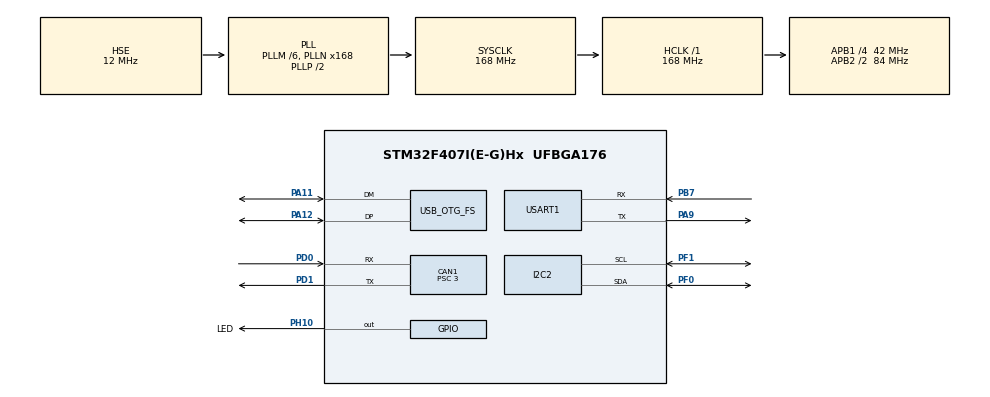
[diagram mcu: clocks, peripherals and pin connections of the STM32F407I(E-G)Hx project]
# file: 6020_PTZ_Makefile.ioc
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CAN1.ABOM=ENABLE
CAN1.BS1=CAN_BS1_9TQ
CAN1.BS2=CAN_BS2_4TQ
CAN1.CalculateBaudRate=1000000
CAN1.CalculateTimeBit=1000
CAN1.CalculateTimeQuantum=71.42857142857143
CAN1.Prescaler=3
I2C2.OwnAddress=0x1A
Mcu.Family=STM32F4
Mcu.Name=STM32F407I(E-G)Hx
Mcu.Package=UFBGA176
NVIC.CAN1_RX0_IRQn=true\:0\:0\:false\:false\:true\:true\:true\:true
NVIC.CAN1_TX_IRQn=true\:0\:0\:false\:false\:true\:true\:true\:true
NVIC.I2C2_ER_IRQn=true\:0\:0\:false\:false\:true\:true\:true\:true
NVIC.I2C2_EV_IRQn=true\:0\:0\:false\:false\:true\:true\:true\:true
NVIC.OTG_FS_IRQn=true\:0\:0\:false\:false\:true\:false\:true\:true
NVIC.PriorityGroup=NVIC_PRIORITYGROUP_4
NVIC.USART1_IRQn=true\:0\:0\:false\:false\:true\:true\:true\:true
PA11.Mode=Device_Only
PA11.Signal=USB_OTG_FS_DM
PA12.Mode=Device_Only
PA12.Signal=USB_OTG_FS_DP
PA13.Signal=SYS_JTMS-SWDIO
PA14.Signal=SYS_JTCK-SWCLK
PA9.Mode=Asynchronous
PA9.Signal=USART1_TX
PB7.Mode=Asynchronous
PB7.Signal=USART1_RX
PC14-OSC32_IN.Mode=LSE-External-Oscillator
PC14-OSC32_IN.Signal=RCC_OSC32_IN
PC15-OSC32_OUT.Mode=LSE-External-Oscillator
PC15-OSC32_OUT.Signal=RCC_OSC32_OUT
PD0.Mode=CAN_Activate
PD0.Signal=CAN1_RX
PD1.Mode=CAN_Activate
PD1.Signal=CAN1_TX
PF0.Mode=I2C
PF0.Signal=I2C2_SDA
PF1.Mode=I2C
PF1.Signal=I2C2_SCL
PH0-OSC_IN.Mode=HSE-External-Oscillator
PH0-OSC_IN.Signal=RCC_OSC_IN
PH1-OSC_OUT.Mode=HSE-External-Oscillator
PH1-OSC_OUT.Signal=RCC_OSC_OUT
PH10.GPIO_Label=LED
PH10.PinState=GPIO_PIN_SET
PH10.Signal=GPIO_Output
ProjectManager.HeapSize=0x200
ProjectManager.StackSize=0x400
ProjectManager.TargetToolchain=Makefile
RCC.48MHZClocksFreq_Value=48000000
RCC.AHBFreq_Value=168000000
RCC.APB1CLKDivider=RCC_HCLK_DIV4
RCC.APB1Freq_Value=42000000
RCC.APB1TimFreq_Value=84000000
RCC.APB2CLKDivider=RCC_HCLK_DIV2
RCC.APB2Freq_Value=84000000
RCC.APB2TimFreq_Value=168000000
RCC.CortexFreq_Value=168000000
RCC.HCLKFreq_Value=168000000
RCC.HSE_VALUE=12000000
RCC.HSI_VALUE=16000000
RCC.PLLM=6
RCC.PLLN=168
RCC.PLLQ=7
RCC.SYSCLKFreq_VALUE=168000000
RCC.SYSCLKSource=RCC_SYSCLKSOURCE_PLLCLK
RCC.VCOOutputFreq_Value=336000000
USART1.VirtualMode=VM_ASYNC
USB_DEVICE.CLASS_NAME_FS=CDC
USB_DEVICE.VirtualMode-CDC_FS=Cdc
USB_DEVICE.VirtualModeFS=Cdc_FS
USB_OTG_FS.VirtualMode=Device_Only
VP_USB_DEVICE_VS_USB_DEVICE_CDC_FS.Mode=CDC_FS
board=custom

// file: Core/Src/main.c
/* USER CODE BEGIN Header */
/**
 ******************************************************************************
 * @file           : main.c
 * @brief          : Main program body
 ******************************************************************************
 * @attention
 *
 * <h2><center>&copy; Copyright (c) 2021 STMicroelectronics.
 * All rights reserved.</center></h2>
 *
 * This software component is licensed by ST under BSD 3-Clause license,
 * the "License"; You may not use this file except in compliance with the
 * License. You may obtain a copy of the License at:
 *                        opensource.org/licenses/BSD-3-Clause
 *
 ******************************************************************************
 */
/* USER CODE END Header */
#include "main.h"
#include "can.h"
#include "gpio.h"
#include "i2c.h"
#include "pid_control_tuning.h"
#include "usart.h"
#include "usb_device.h"

/* USER CODE BEGIN Includes */
#include "bsp_can.h"
#include "com.h"
#include "package.h"
#include "pid.h"
#include "math.h"
#include "usbd_cdc_if.h"
#include <stdio.h>
#include <string.h>

/* USER CODE END Includes */

/* USER CODE BEGIN PTD */
#define printf(...) cprintf(&huart1, __VA_ARGS__)

typedef struct
{
  uint8_t header;
  uint8_t cmd_id;
  float value;
  uint8_t end;
}__attribute__((packed)) Rx_packet;

Rx_packet rxBuffer;   //串口接收包
/* USER CODE END PTD */

/* USER CODE BEGIN PV */
typedef struct Vec3d {
    double x, y, z;
} Vec3d;
/* USER CODE END PV */

void SystemClock_Config(void);

/* USER CODE BEGIN 0 */
uint8_t ReceiveBuffer[6] = {0}; // IIC接收缓冲区
char buf_r[256] = {0};

double rc_norm(const Vec3d *r) {
    double ans = (r -> x * r -> x) + (r -> y * r -> y) + (r -> z * r -> z);
    return sqrt(ans);
}

void rc_mul(const double a, const Vec3d *b, Vec3d *ans) {
    ans -> x = a * b -> x;
    ans -> y = a * b -> y;
    ans -> z = a * b -> z;
}

/* USER CODE END 0 */

int main(void) {

  /* MCU Configuration--------------------------------------------------------*/

  /* Reset of all peripherals, Initializes the Flash interface and the Systick.
   */
  HAL_Init();

  /* Configure the system clock */
  SystemClock_Config();

  /* Initialize all configured peripherals */
  MX_GPIO_Init();
  MX_CAN1_Init();
  MX_I2C2_Init();
  MX_USART1_UART_Init();
  MX_USB_DEVICE_Init();
  MX_USB_DEVICE_Init();
  /* USER CODE BEGIN 2 */

  HAL_CAN_Start(&hcan1);
  my_can_filter_init_recv_all(&hcan1);
  HAL_CAN_ActivateNotification(&hcan1,
                               CAN_IT_RX_FIFO0_MSG_PENDING); // enable IT

  /* USER CODE END 2 */

  /* Infinite loop */
  /* USER CODE BEGIN WHILE */
  // 3508 PID
  pid_init(&motor_pid[0]); // 速度环
  motor_pid[0].f_param_init(&motor_pid[0], PID_Speed, CURRENT_LIMIT, 8000, 0, 0,
                            0, 8000, 0.24842814838095523 * 10, 0.0015076889622227807 * 10, 0);
  pid_init(&angle_pid[0]); // 位置环（相对位置）
  angle_pid[0].f_param_init(&angle_pid[0], PID_Speed, 2000, 1500, 40, 0, 4000, 0,
                            0.8127202642917449, 0.018356653060468776*0.1, 8.343916758406207 * 1.5);
  //以下不使用
  pid_init(&abs_pid[0]); // 位置环（自稳）
  abs_pid[0].f_param_init(&abs_pid[0], PID_Speed, 300, 300, 0, 0, 4000, 0, -0.9,
                          -0.003, -3);

  // 6020 PID
  pid_init(&motor_pid[1]); // 速度环
  motor_pid[1].f_param_init(&motor_pid[1], PID_Speed, CURRENT_LIMIT, 15000, 0, 0,
                            0, 8000, 112.73442566396369, 7.347659387059064, 0);
  pid_init(&angle_pid[1]); // 位置环
  angle_pid[1].f_param_init(&angle_pid[1], PID_Speed, 500, 500, 0, 0, 4000, 0,
                            0.6745661429894514, 0.010929750727867575, 9.989887536853216 * 0.04);

  //以下不使用
  pid_init(&abs_pid[1]); // 位置环（自稳）
  abs_pid[1].f_param_init(&abs_pid[1], PID_Speed, 300, 300, 0, 0, 4000, 0, 0.5,
                          0, 10);

  printf("--------------init--------------\n");
  HAL_I2C_Slave_Receive_IT(&hi2c2, ReceiveBuffer, sizeof(ReceiveBuffer));

  SendPacket sp;
  sp.header = 0x5a;
  sp.detect_color = 1;
  sp.reset_tracker = 0;
  sp.checksum = 0;
  ReceivePacket rp = {0};
  uint32_t size = SEND_PKG_SIZE;
	Vec3d aim_pos = {0};
	float yaw,pitch;
	int nan_f = 0;
  int speed, current = 0;

  HAL_UART_Receive_IT(&huart1, &rxBuffer, 7);

  while (1) {
    /* USER CODE END WHILE */

    /* USER CODE BEGIN 3 */
    switch (REL_ANGLE_PID_TEST) {
      case SPEED_PID_TUNING:
        speed_loop_PID_tuning(0);     //速度环调定
        break;

      case ABS_ANGLE_PID_TUNING:
        Abs_anglelop_PID_tuning(0);
        break;

      case REL_ANGLE_PID_TUNING:
        Rel_angleloop_PID_tuning(0);  //位置环调定 & 速度环测试
        break;

      case ABS_ANGLE_PID_TEST:
        Abs_angle_PID_test_loop(0);
        break;

      case REL_ANGLE_PID_TEST:
        Rel_angle_PID_test_loop(0);   //位置环测试
        break;

      case ABS_ANGLE_STABLE_MODE:
        Abs_angle_control_loop();
        break;

      case REL_ANGLE_STABLE_MODE:
        Rel_angle_control_loop();     //闭环控制模式
        break;
    }

    HAL_Delay(1);

  // set_moto_current(&hcan1, 3500, 0, 0, 0, 0x1FF);   //6020
  // set_moto_current(&hcan1, 1500, 0, 0, 0, 0x200);   //3508

    /*Debug*/
    if (false) {
      HAL_GPIO_TogglePin(LED_GPIO_Port, LED_Pin);
      HAL_Delay(100);
    }
    i++;
    j++;
    HAL_UART_Receive_IT(&huart1, &rxBuffer, 7);
  }
  /* USER CODE END 3 */
}

void SystemClock_Config(void) {
  RCC_OscInitTypeDef RCC_OscInitStruct = {0};
  RCC_ClkInitTypeDef RCC_ClkInitStruct = {0};

  /** Configure the main internal regulator output voltage
   */
  __HAL_RCC_PWR_CLK_ENABLE();
  __HAL_PWR_VOLTAGESCALING_CONFIG(PWR_REGULATOR_VOLTAGE_SCALE1);

  /** Initializes the RCC Oscillators according to the specified parameters
   * in the RCC_OscInitTypeDef structure.
   */
  RCC_OscInitStruct.OscillatorType = RCC_OSCILLATORTYPE_HSE;
  RCC_OscInitStruct.HSEState = RCC_HSE_ON;
  RCC_OscInitStruct.PLL.PLLState = RCC_PLL_ON;
  RCC_OscInitStruct.PLL.PLLSource = RCC_PLLSOURCE_HSE;
  RCC_OscInitStruct.PLL.PLLM = 6;
  RCC_OscInitStruct.PLL.PLLN = 168;
  RCC_OscInitStruct.PLL.PLLP = RCC_PLLP_DIV2;
  RCC_OscInitStruct.PLL.PLLQ = 7;
  if (HAL_RCC_OscConfig(&RCC_OscInitStruct) != HAL_OK) {
    Error_Handler();
  }

  /** Initializes the CPU, AHB and APB buses clocks
   */
  RCC_ClkInitStruct.ClockType = RCC_CLOCKTYPE_HCLK | RCC_CLOCKTYPE_SYSCLK |
                                RCC_CLOCKTYPE_PCLK1 | RCC_CLOCKTYPE_PCLK2;
  RCC_ClkInitStruct.SYSCLKSource = RCC_SYSCLKSOURCE_PLLCLK;
  RCC_ClkInitStruct.AHBCLKDivider = RCC_SYSCLK_DIV1;
  RCC_ClkInitStruct.APB1CLKDivider = RCC_HCLK_DIV4;
  RCC_ClkInitStruct.APB2CLKDivider = RCC_HCLK_DIV2;

  if (HAL_RCC_ClockConfig(&RCC_ClkInitStruct, FLASH_LATENCY_5) != HAL_OK) {
    Error_Handler();
  }
}

/* USER CODE BEGIN 4 */

int fputc(int ch, FILE *f) {
  HAL_UART_Transmit(&huart1, (uint8_t *)&ch, 1, 0xffff);
  return ch;
}
int fgetc(FILE *f) {
  uint8_t ch = 0;
  HAL_UART_Receive(&huart1, &ch, 1, 0xffff);
  return ch;
}

/*串口接收处理*/
void HAL_UART_RxCpltCallback(UART_HandleTypeDef *huart) {
  float decodedData = 0;
    // Check frame header and footer
    if (rxBuffer.header == 0x5C) {
      if(rxBuffer.cmd_id == 2){
        Gimbal_angle[0] = (int)rxBuffer.value;
        printf("set speed to %d\n", Gimbal_angle[0]);
      }else if(rxBuffer.cmd_id == 1){
        Gimbal_angle[1] = (int)rxBuffer.value;
        printf("set angle to %d\n", Gimbal_angle[1]);
      }
    }
  HAL_UART_Receive_IT(&huart1, &rxBuffer, 7);
}

void HAL_I2C_SlaveRxCpltCallback(I2C_HandleTypeDef *hi2c) {
  // printf("data1 = %d\n", ReceiveBuffer[1]);
  uint8_t IMU_data[6] = {0};
  for (int i = 0; i < 6; i++) {
    IMU_data[i] = ReceiveBuffer[i];
  }
  IMU_Angle_Raw[0] = (int16_t)(IMU_data[0] << 8 | IMU_data[1]);
  IMU_Angle_Raw[1] = (int16_t)(IMU_data[2] << 8 | IMU_data[3]);
  IMU_Angle_Raw[2] = (int16_t)(IMU_data[4] << 8 | IMU_data[5]);
  IMU_Angle[0] = (float)IMU_Angle_Raw[0] / 100;
  IMU_Angle[1] = (float)IMU_Angle_Raw[1] / 100;
  IMU_Angle[2] = (float)IMU_Angle_Raw[2] / 10;
  //  printf("%f, %d, %d, \n",
  //        (int16_t)(IMU_data[0]<<8 | IMU_data[1])/100,
  //        (int16_t)(IMU_data[2]<<8 | IMU_data[3]),
  //        (int16_t)(IMU_data[4]<<8 | IMU_data[5])*10);
  /**printf("%f, %f, %f\n", IMU_Angle[0], IMU_Angle[1], IMU_Angle[2]);*/
  HAL_I2C_Slave_Receive_IT(&hi2c2, ReceiveBuffer, sizeof(ReceiveBuffer));
}

/* USER CODE END 4 */

void Error_Handler(void) {
  __disable_irq();
  while (1) {
  }
}

#ifdef USE_FULL_ASSERT
/**
 * @brief  Reports the name of the source file and the source line number
 *         where the assert_param error has occurred.
 * @param  file: pointer to the source file name
 * @param  line: assert_param error line source number
 * @retval None
 */
void assert_failed(uint8_t *file, uint32_t line) {
  /* USER CODE BEGIN 6 */
  /* User can add his own implementation to report the file name and line
     number, ex: printf("Wrong parameters value: file %s on line %d\r\n", file,
     line) */
  /* USER CODE END 6 */
}
#endif /* USE_FULL_ASSERT */
